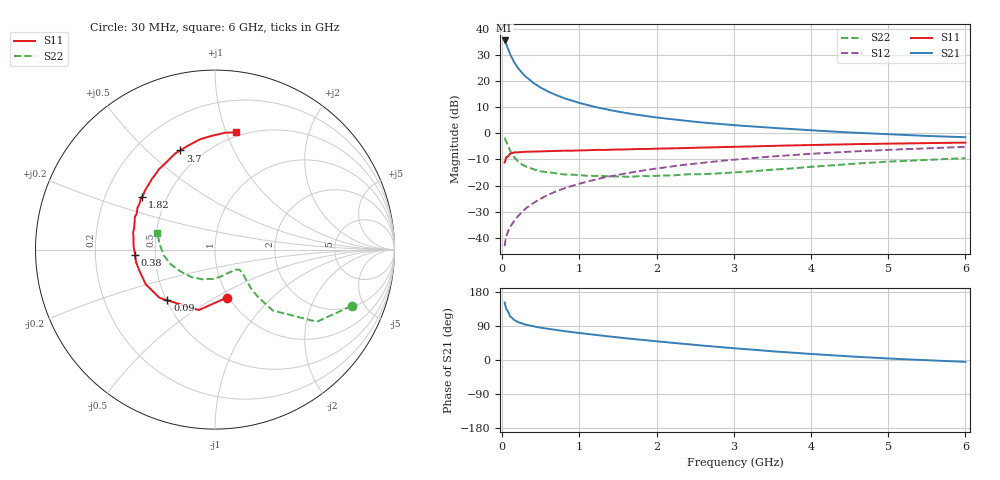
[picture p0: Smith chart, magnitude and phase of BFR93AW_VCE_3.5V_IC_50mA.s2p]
! Infineon Technologies  Discrete & RF Semiconductors
! BFR93AW
! VCE =  3.5 V,  IC =  50 mA
! Common Emitter S-Parameters:  Nov 2015
# GHz  S  MA  R  50
!  f  S11  S21  S12  S22
! GHz  MAG  ANG  MAG  ANG  MAG  ANG  MAG  ANG
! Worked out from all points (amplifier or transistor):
!   206 points, 30 MHz to 6 GHz, reference 50 ohm
!   highest |S21| = 35.6 dB at 30 MHz (marker M1)
!   |S21| within 3 dB of that: start of sweep to 72.03 MHz
!   unconditionally stable (mu >= 1): 359.5 MHz to 2.187 GHz
!   at 200 MHz: K = 0.91, MSG = 28.5 dB, |S12| = -31.9 dB
!   at 1.56 GHz: K = 1.04, MAG = 10.6 dB, |S12| = -15.5 dB
!   at 6 GHz: K = 0.92, MSG = 1.9 dB, |S12| = -5.2 dB
!   S11 on the Smith chart (normalised r, x): 30 MHz: 0.98, -0.57; 90 MHz: 0.51, -0.34; 380 MHz: 0.38, -0.03; 1.82 GHz: 0.36, +0.28; 3.7 GHz: 0.38, +0.64; 6 GHz: 0.46, +1.09
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0.03  0.2757 -76.4  60.27 151.9  0.0069 72.0  0.8235 -22.4
0.05  0.3487 -105.0  51.28 135.0  0.0105 67.9  0.6957 -35.3
0.09  0.3875 -133.1  36.25 120.8  0.0149 67.0  0.5115 -43.5
0.1  0.4096 -138.9  33.03 115.3  0.016 66.9  0.4679 -46.5
0.15  0.4317 -153.4  23.43 106.0  0.0205 67.2  0.3526 -47.8
0.18  0.4325 -158.2  20.19 102.9  0.0235 69.3  0.317 -47.4
0.2  0.4346 -161.3  18.07 100.3  0.0255 70.4  0.2932 -47.1
0.26  0.4415 -168.1  14.14 95.9  0.0316 72.1  0.2509 -44.9
0.3  0.4453 -171.1  12.27 93.4  0.036 72.9  0.2343 -43.7
0.38  0.4463 -176.1  9.87 89.9  0.0439 74.3  0.211 -41.4
0.5  0.4533 178.3  7.478 85.0  0.0563 75.2  0.1874 -39.9
0.6  0.4562 174.8  6.256 81.9  0.067 75.5  0.1789 -39.6
0.8  0.4664 168.2  4.733 76.2  0.088 74.9  0.1634 -42.3
1.04  0.4722 161.5  3.685 70.2  0.1126 73.6  0.1566 -47.2
1.4  0.487 153.1  2.782 61.8  0.1506 70.8  0.1496 -58.9
1.82  0.5026 144.2  2.191 52.9  0.194 67.2  0.1523 -73.3
2.02  0.5105 139.9  1.998 48.8  0.2143 65.3  0.1551 -80.5
3.1  0.5564 119.3  1.402 29.5  0.3224 54.4  0.1819 -116.1
3.7  0.5855 109.3  1.222 20.3  0.3789 47.8  0.2101 -138.1
4.1  0.6018 103.2  1.124 14.7  0.4137 43.4  0.234 -151.4
5.1  0.6381 90.0  0.949 3.0  0.4904 32.5  0.2917 -176.5
6  0.6639 79.7  0.845 -4.9  0.551 23.2  0.3351 163.6
